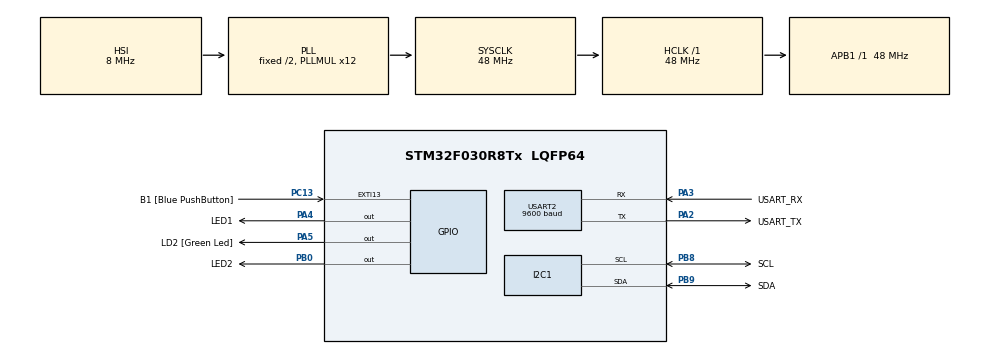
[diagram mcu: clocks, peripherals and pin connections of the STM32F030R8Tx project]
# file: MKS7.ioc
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FREERTOS.Queues01=xVisualQueue,16,int16_t,0,Dynamic,NULL,NULL
FREERTOS.Tasks01=defaultTask,0,128,StartDefaultTask,Default,NULL,Dynamic,NULL,NULL;VisualTask,0,128,StartVisualTask,Default,NULL,Dynamic,NULL,NULL;AcceleroTask,0,128,StartAcceleroTask,Default,NULL,Dynamic,NULL,NULL
FREERTOS.configUSE_NEWLIB_REENTRANT=1
I2C1.Timing=0x00201D2B
Mcu.Family=STM32F0
Mcu.Name=STM32F030R8Tx
Mcu.Package=LQFP64
NVIC.TIM14_IRQn=true\:3\:0\:false\:false\:true\:false\:false\:true\:true
NVIC.TimeBase=TIM14_IRQn
NVIC.TimeBaseIP=TIM14
PA13.GPIO_Label=TMS
PA13.Mode=Serial_Wire
PA13.Signal=SYS_SWDIO
PA14.GPIO_Label=TCK
PA14.Mode=Serial_Wire
PA14.Signal=SYS_SWCLK
PA2.GPIO_Label=USART_TX
PA2.GPIO_Mode=GPIO_MODE_AF_PP
PA2.GPIO_PuPd=GPIO_NOPULL
PA2.GPIO_Speed=GPIO_SPEED_FREQ_LOW
PA2.Mode=Asynchronous
PA2.Signal=USART2_TX
PA3.GPIO_Label=USART_RX
PA3.GPIO_Mode=GPIO_MODE_AF_PP
PA3.GPIO_PuPd=GPIO_NOPULL
PA3.GPIO_Speed=GPIO_SPEED_FREQ_LOW
PA3.Mode=Asynchronous
PA3.Signal=USART2_RX
PA4.GPIO_Label=LED1
PA4.Signal=GPIO_Output
PA5.GPIO_Label=LD2 [Green Led]
PA5.GPIO_Mode=GPIO_MODE_OUTPUT_PP
PA5.GPIO_PuPd=GPIO_NOPULL
PA5.GPIO_Speed=GPIO_SPEED_FREQ_LOW
PA5.Signal=GPIO_Output
PB0.GPIO_Label=LED2
PB0.Signal=GPIO_Output
PB8.GPIO_Label=SCL
PB8.Mode=I2C
PB8.Signal=I2C1_SCL
PB9.GPIO_Label=SDA
PB9.Mode=I2C
PB9.Signal=I2C1_SDA
PC13.GPIO_Label=B1 [Blue PushButton]
PC13.GPIO_ModeDefaultEXTI=GPIO_MODE_IT_FALLING
PC13.Signal=GPXTI13
PC14-OSC32_IN.Mode=LSE-External-Oscillator
PC14-OSC32_IN.Signal=RCC_OSC32_IN
PC15-OSC32_OUT.Mode=LSE-External-Oscillator
PC15-OSC32_OUT.Signal=RCC_OSC32_OUT
PF0-OSC_IN.Mode=HSE-External-Clock-Source
PF0-OSC_IN.Signal=RCC_OSC_IN
PF1-OSC_OUT.Signal=RCC_OSC_OUT
ProjectManager.HeapSize=0x200
ProjectManager.StackSize=0x400
ProjectManager.TargetToolchain=STM32CubeIDE
RCC.AHBFreq_Value=48000000
RCC.APB1Freq_Value=48000000
RCC.APB1TimFreq_Value=48000000
RCC.HCLKFreq_Value=48000000
RCC.PLLMUL=RCC_PLL_MUL12
RCC.SYSCLKFreq_VALUE=48000000
RCC.SYSCLKSource=RCC_SYSCLKSOURCE_PLLCLK
USART2.BaudRate=9600
USART2.VirtualMode-Asynchronous=VM_ASYNC
VP_FREERTOS_VS_CMSIS_V1.Mode=CMSIS_V1
VP_SYS_VS_tim14.Mode=TIM14
board=NUCLEO-F030R8

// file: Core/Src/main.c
/* USER CODE BEGIN Header */
/**
  ******************************************************************************
  * @file           : main.c
  * @brief          : Main program body
  ******************************************************************************
  * @attention
  *
  * Copyright (c) 2025 STMicroelectronics.
  * All rights reserved.
  *
  * This software is licensed under terms that can be found in the LICENSE file
  * in the root directory of this software component.
  * If no LICENSE file comes with this software, it is provided AS-IS.
  *
  ******************************************************************************
  */
/* USER CODE END Header */
#include "main.h"
#include "cmsis_os.h"

/* USER CODE BEGIN Includes */
#include <stdio.h>
#include "lis2dw12_reg.h"
/* USER CODE END Includes */

I2C_HandleTypeDef hi2c1;

UART_HandleTypeDef huart2;

osThreadId defaultTaskHandle;
osThreadId VisualTaskHandle;
osThreadId AcceleroTaskHandle;
osMessageQId xVisualQueueHandle;

void SystemClock_Config(void);
static void MX_GPIO_Init(void);
static void MX_USART2_UART_Init(void);
static void MX_I2C1_Init(void);
void StartDefaultTask(void const * argument);
void StartVisualTask(void const * argument);
void StartAcceleroTask(void const * argument);

/* USER CODE BEGIN PFP */
static int32_t platform_write(void *handle, uint8_t reg, uint8_t *bufp, uint16_t len);
static int32_t platform_read(void *handle, uint8_t reg, uint8_t *bufp, uint16_t len);
static stmdev_ctx_t lis2dw12 = {
 .write_reg = platform_write,
 .read_reg = platform_read,
 .handle = &hi2c1,
};
/* USER CODE END PFP */

/* USER CODE BEGIN 0 */

static int32_t platform_write(void *handle, uint8_t reg, uint8_t *bufp, uint16_t len) {
  HAL_I2C_Mem_Write((I2C_HandleTypeDef*)handle, LIS2DW12_I2C_ADD_H, reg,
                    I2C_MEMADD_SIZE_8BIT, bufp, len, 1000);
  return 0;
}

static int32_t platform_read(void *handle, uint8_t reg, uint8_t *bufp, uint16_t len) {
  HAL_I2C_Mem_Read((I2C_HandleTypeDef*)handle, LIS2DW12_I2C_ADD_H, reg,
                   I2C_MEMADD_SIZE_8BIT, bufp, len, 1000);
  return 0;
}
int _write(int file, char *buf, int len) {
    HAL_UART_Transmit(&huart2, (uint8_t*)(buf), len, 1000);
    return len;
}

/* USER CODE END 0 */

int main(void)
{

  /* MCU Configuration--------------------------------------------------------*/

  /* Reset of all peripherals, Initializes the Flash interface and the Systick. */
  HAL_Init();

  /* Configure the system clock */
  SystemClock_Config();

  /* Initialize all configured peripherals */
  MX_GPIO_Init();
  MX_USART2_UART_Init();
  MX_I2C1_Init();

  /* Create the queue(s) */
  /* definition and creation of xVisualQueue */
  osMessageQDef(xVisualQueue, 16, int16_t);
  xVisualQueueHandle = osMessageCreate(osMessageQ(xVisualQueue), NULL);

  /* Create the thread(s) */
  /* definition and creation of defaultTask */
  osThreadDef(defaultTask, StartDefaultTask, osPriorityNormal, 0, 128);
  defaultTaskHandle = osThreadCreate(osThread(defaultTask), NULL);

  /* definition and creation of VisualTask */
  osThreadDef(VisualTask, StartVisualTask, osPriorityNormal, 0, 128);
  VisualTaskHandle = osThreadCreate(osThread(VisualTask), NULL);

  /* definition and creation of AcceleroTask */
  osThreadDef(AcceleroTask, StartAcceleroTask, osPriorityNormal, 0, 128);
  AcceleroTaskHandle = osThreadCreate(osThread(AcceleroTask), NULL);

  /* Start scheduler */
  osKernelStart();

  /* We should never get here as control is now taken by the scheduler */

  /* Infinite loop */
  while (1)
  {

  }
}

void SystemClock_Config(void)
{
  RCC_OscInitTypeDef RCC_OscInitStruct = {0};
  RCC_ClkInitTypeDef RCC_ClkInitStruct = {0};
  RCC_PeriphCLKInitTypeDef PeriphClkInit = {0};

  /** Initializes the RCC Oscillators according to the specified parameters
  * in the RCC_OscInitTypeDef structure.
  */
  RCC_OscInitStruct.OscillatorType = RCC_OSCILLATORTYPE_HSI;
  RCC_OscInitStruct.HSIState = RCC_HSI_ON;
  RCC_OscInitStruct.HSICalibrationValue = RCC_HSICALIBRATION_DEFAULT;
  RCC_OscInitStruct.PLL.PLLState = RCC_PLL_ON;
  RCC_OscInitStruct.PLL.PLLSource = RCC_PLLSOURCE_HSI;
  RCC_OscInitStruct.PLL.PLLMUL = RCC_PLL_MUL12;
  RCC_OscInitStruct.PLL.PREDIV = RCC_PREDIV_DIV1;
  if (HAL_RCC_OscConfig(&RCC_OscInitStruct) != HAL_OK)
  {
    Error_Handler();
  }

  /** Initializes the CPU, AHB and APB buses clocks
  */
  RCC_ClkInitStruct.ClockType = RCC_CLOCKTYPE_HCLK|RCC_CLOCKTYPE_SYSCLK
                              |RCC_CLOCKTYPE_PCLK1;
  RCC_ClkInitStruct.SYSCLKSource = RCC_SYSCLKSOURCE_PLLCLK;
  RCC_ClkInitStruct.AHBCLKDivider = RCC_SYSCLK_DIV1;
  RCC_ClkInitStruct.APB1CLKDivider = RCC_HCLK_DIV1;

  if (HAL_RCC_ClockConfig(&RCC_ClkInitStruct, FLASH_LATENCY_1) != HAL_OK)
  {
    Error_Handler();
  }
  PeriphClkInit.PeriphClockSelection = RCC_PERIPHCLK_I2C1;
  PeriphClkInit.I2c1ClockSelection = RCC_I2C1CLKSOURCE_HSI;
  if (HAL_RCCEx_PeriphCLKConfig(&PeriphClkInit) != HAL_OK)
  {
    Error_Handler();
  }
}

static void MX_I2C1_Init(void)
{

  hi2c1.Instance = I2C1;
  hi2c1.Init.Timing = 0x00201D2B;
  hi2c1.Init.OwnAddress1 = 0;
  hi2c1.Init.AddressingMode = I2C_ADDRESSINGMODE_7BIT;
  hi2c1.Init.DualAddressMode = I2C_DUALADDRESS_DISABLE;
  hi2c1.Init.OwnAddress2 = 0;
  hi2c1.Init.OwnAddress2Masks = I2C_OA2_NOMASK;
  hi2c1.Init.GeneralCallMode = I2C_GENERALCALL_DISABLE;
  hi2c1.Init.NoStretchMode = I2C_NOSTRETCH_DISABLE;
  if (HAL_I2C_Init(&hi2c1) != HAL_OK)
  {
    Error_Handler();
  }

  /** Configure Analogue filter
  */
  if (HAL_I2CEx_ConfigAnalogFilter(&hi2c1, I2C_ANALOGFILTER_ENABLE) != HAL_OK)
  {
    Error_Handler();
  }

  /** Configure Digital filter
  */
  if (HAL_I2CEx_ConfigDigitalFilter(&hi2c1, 0) != HAL_OK)
  {
    Error_Handler();
  }

}

static void MX_USART2_UART_Init(void)
{

  huart2.Instance = USART2;
  huart2.Init.BaudRate = 9600;
  huart2.Init.WordLength = UART_WORDLENGTH_8B;
  huart2.Init.StopBits = UART_STOPBITS_1;
  huart2.Init.Parity = UART_PARITY_NONE;
  huart2.Init.Mode = UART_MODE_TX_RX;
  huart2.Init.HwFlowCtl = UART_HWCONTROL_NONE;
  huart2.Init.OverSampling = UART_OVERSAMPLING_16;
  huart2.Init.OneBitSampling = UART_ONE_BIT_SAMPLE_DISABLE;
  huart2.AdvancedInit.AdvFeatureInit = UART_ADVFEATURE_NO_INIT;
  if (HAL_UART_Init(&huart2) != HAL_OK)
  {
    Error_Handler();
  }

}

static void MX_GPIO_Init(void)
{
  GPIO_InitTypeDef GPIO_InitStruct = {0};

  /* GPIO Ports Clock Enable */
  __HAL_RCC_GPIOC_CLK_ENABLE();
  __HAL_RCC_GPIOF_CLK_ENABLE();
  __HAL_RCC_GPIOA_CLK_ENABLE();
  __HAL_RCC_GPIOB_CLK_ENABLE();

  /*Configure GPIO pin Output Level */
  HAL_GPIO_WritePin(GPIOA, LED1_Pin|LD2_Pin, GPIO_PIN_RESET);

  /*Configure GPIO pin Output Level */
  HAL_GPIO_WritePin(LED2_GPIO_Port, LED2_Pin, GPIO_PIN_RESET);

  /*Configure GPIO pin : B1_Pin */
  GPIO_InitStruct.Pin = B1_Pin;
  GPIO_InitStruct.Mode = GPIO_MODE_IT_FALLING;
  GPIO_InitStruct.Pull = GPIO_NOPULL;
  HAL_GPIO_Init(B1_GPIO_Port, &GPIO_InitStruct);

  /*Configure GPIO pins : LED1_Pin LD2_Pin */
  GPIO_InitStruct.Pin = LED1_Pin|LD2_Pin;
  GPIO_InitStruct.Mode = GPIO_MODE_OUTPUT_PP;
  GPIO_InitStruct.Pull = GPIO_NOPULL;
  GPIO_InitStruct.Speed = GPIO_SPEED_FREQ_LOW;
  HAL_GPIO_Init(GPIOA, &GPIO_InitStruct);

  /*Configure GPIO pin : LED2_Pin */
  GPIO_InitStruct.Pin = LED2_Pin;
  GPIO_InitStruct.Mode = GPIO_MODE_OUTPUT_PP;
  GPIO_InitStruct.Pull = GPIO_NOPULL;
  GPIO_InitStruct.Speed = GPIO_SPEED_FREQ_LOW;
  HAL_GPIO_Init(LED2_GPIO_Port, &GPIO_InitStruct);

}

void StartDefaultTask(void const * argument)
{
  for(;;)
  {
    osDelay(1);
  }
}

void StartVisualTask(void const * argument)
{
  /* USER CODE BEGIN StartVisualTask */
  HAL_GPIO_WritePin(LED1_GPIO_Port, LED1_Pin, 0);
  HAL_GPIO_WritePin(LED2_GPIO_Port, LED2_Pin, 0);
  /* Infinite loop */
  for(;;)
  {
	int16_t msg;
	if (xQueueReceive(xVisualQueueHandle, &msg, portMAX_DELAY)) {
		if(msg < -1000){
			HAL_GPIO_WritePin(LED1_GPIO_Port, LED1_Pin, 1);
			HAL_GPIO_WritePin(LED2_GPIO_Port, LED2_Pin, 0);

		} else if(msg > 1000) {
			HAL_GPIO_WritePin(LED1_GPIO_Port, LED1_Pin, 0);
			HAL_GPIO_WritePin(LED2_GPIO_Port, LED2_Pin, 1);
		} else{
			HAL_GPIO_WritePin(LED1_GPIO_Port, LED1_Pin, 0);
			HAL_GPIO_WritePin(LED2_GPIO_Port, LED2_Pin, 0);
		}

	}
    osDelay(1);
  }
  /* USER CODE END StartVisualTask */
}

void StartAcceleroTask(void const * argument)
{
  /* USER CODE BEGIN StartAcceleroTask */
	/* Infinite loop */
	uint8_t who = 0;
	lis2dw12_device_id_get(&lis2dw12, &who);
	printf("LIS2DW12_ID %s (0x%02X)\r\n", (who == LIS2DW12_ID) ? "OK" : "FAIL", who);

	lis2dw12_full_scale_set(&lis2dw12, LIS2DW12_2g);
	lis2dw12_power_mode_set(&lis2dw12, LIS2DW12_CONT_LOW_PWR_LOW_NOISE_2);
	lis2dw12_block_data_update_set(&lis2dw12, PROPERTY_ENABLE);
	lis2dw12_fifo_mode_set(&lis2dw12, LIS2DW12_STREAM_MODE);
	lis2dw12_data_rate_set(&lis2dw12, LIS2DW12_XL_ODR_25Hz);
	for(;;)
	{
		int16_t msg;
		uint32_t print_timer = 0;
		//msg=-5000;
		//xQueueSend(xVisualQueueHandle, &msg, 0);
		//osDelay(300);
		//msg=5000;
		//xQueueSend(xVisualQueueHandle, &msg, 0);
		//osDelay(300);
		uint8_t samples = 0;
		int16_t raw_acc[3];

		lis2dw12_fifo_data_level_get(&lis2dw12, &samples);
		for (uint8_t i = 0; i < samples; i++) {
			lis2dw12_acceleration_raw_get(&lis2dw12, raw_acc);

			msg = raw_acc[0];
			xQueueSend(xVisualQueueHandle, &msg, 0);
			osDelay(50);
			if (print_timer >= 20) {
				print_timer = 0;
				printf("X=%d  Y=%d  Z=%d\r\n", raw_acc[0], raw_acc[1], raw_acc[2]);
				}
			print_timer++;
		}

	}
  /* USER CODE END StartAcceleroTask */
}

void HAL_TIM_PeriodElapsedCallback(TIM_HandleTypeDef *htim)
{
  if (htim->Instance == TIM14)
  {
    HAL_IncTick();
  }
}

void Error_Handler(void)
{
  __disable_irq();
  while (1)
  {
  }
}
